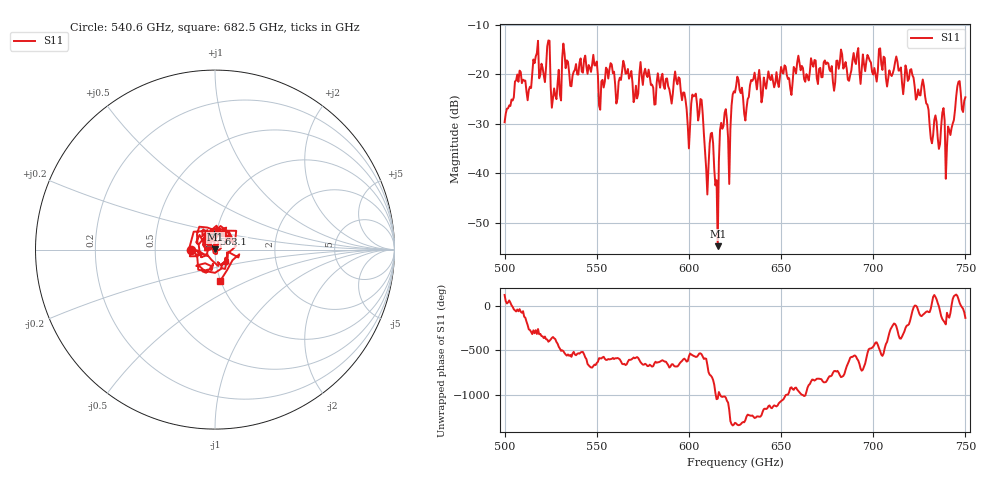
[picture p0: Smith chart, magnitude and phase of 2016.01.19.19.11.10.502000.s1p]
!Created with skrf (http://scikit-rf.org).
# GHz S RI R 50.0
!freq ReS11 ImS11
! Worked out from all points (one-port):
!   401 points, 500 GHz to 750 GHz, reference 50 ohm
!   lowest |S11| = -54.8 dB at 615.6 GHz (marker M1), VSWR 1.00, Z = 50.1 + j0.112 ohm
!   |S11| at or under -10 dB: start of sweep to end of sweep
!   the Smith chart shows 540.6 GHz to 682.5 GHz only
!   S11 on the Smith chart (normalised r, x): 540.6 GHz: 0.77, -0.01; 563.1 GHz: 0.97, +0.17; 682.5 GHz: 0.99, -0.36
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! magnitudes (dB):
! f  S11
! 500 GHz  -29.7
! 507.5 GHz  -21.5
! 513.1 GHz  -23.2
! 516.9 GHz  -16.4
! 523.8 GHz  -13.1
! 526.9 GHz  -22.8
! 531.2 GHz  -16.6
! 540.6 GHz  -17.6
! 562.5 GHz  -20.7
! 563.1 GHz  -21.1
! 593.8 GHz  -22.0
! 599.4 GHz  -30.4
! 606.9 GHz  -25.2
! 609.4 GHz  -39.1
! 612.5 GHz  -31.8
! 615.6 GHz  -54.8
! 618.1 GHz  -31.0
! 621.9 GHz  -42.2
! 625 GHz  -23.7
! 630.6 GHz  -29.3
! 635 GHz  -20.9
! 656.2 GHz  -21.6
! 682.5 GHz  -15.0
! 687.5 GHz  -20.1
! 718.8 GHz  -21.3
! 740.6 GHz  -30.5
! 746.2 GHz  -21.5
! 750 GHz  -24.6
